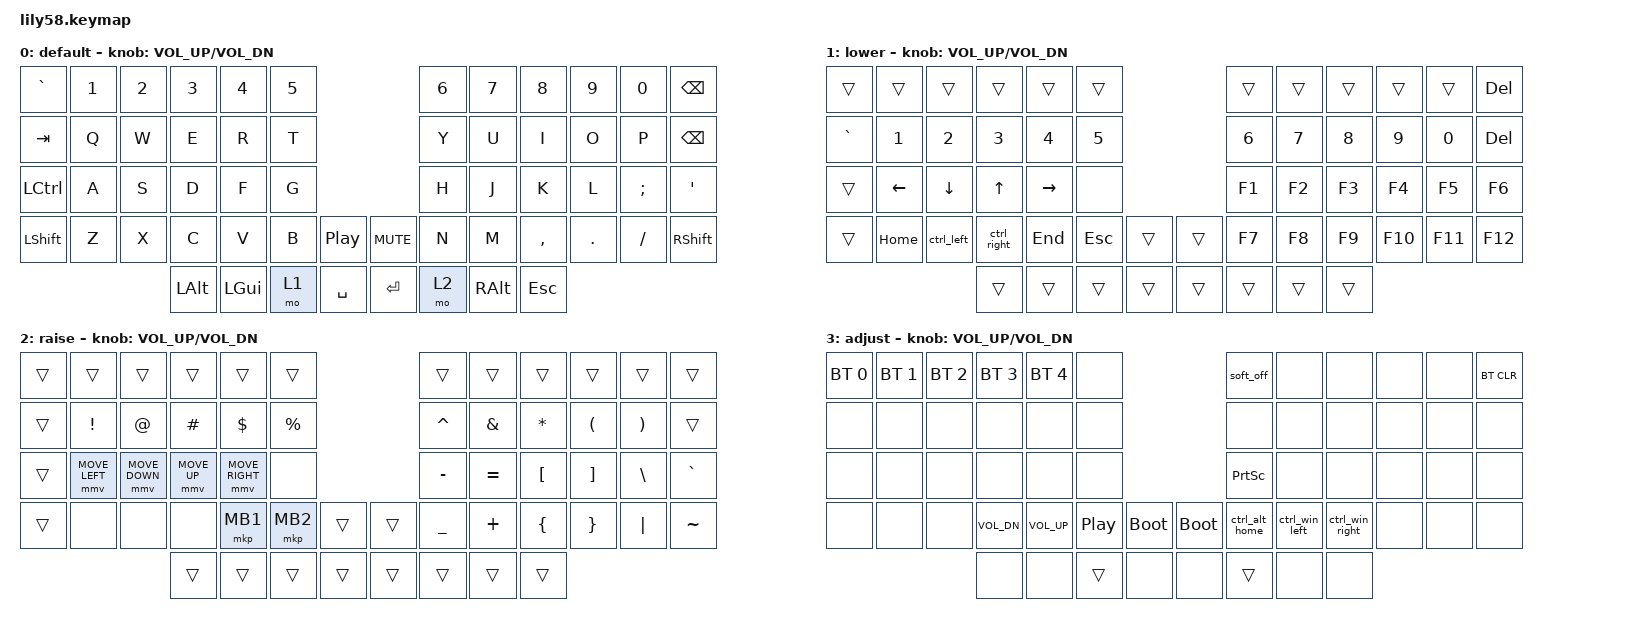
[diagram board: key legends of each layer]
/*
 * Copyright (c) 2020 The ZMK Contributors
 *
 * SPDX-License-Identifier: MIT
 */

#include <behaviors.dtsi>
#include <dt-bindings/zmk/keys.h>
#include <dt-bindings/zmk/bt.h>
#include <dt-bindings/zmk/ext_power.h>
#include <dt-bindings/zmk/pointing.h>

#define BASE 0
#define LOWER 1
#define RAISE 2
#define ADJUST 3

/ {
    macros {
      ctrl_alt_home: ctrl_alt_home {
        compatible = "zmk,behavior-macro";
        #binding-cells = <0>;
        bindings = <&macro_press &kp LCTRL &kp LALT>,
                   <&macro_tap &kp HOME>,
                   <&macro_release &kp LCTRL &kp LALT>;
      };
      ctrl_win_left: ctrl_win_left {
        compatible = "zmk,behavior-macro";
        #binding-cells = <0>;
        bindings = <&macro_press &kp LCTRL &kp LGUI>,
                   <&macro_tap &kp LEFT>,
                   <&macro_release &kp LCTRL &kp LGUI>;
      };
      ctrl_win_right: ctrl_win_right {
        compatible = "zmk,behavior-macro";
        #binding-cells = <0>;
        bindings = <&macro_press &kp LCTRL &kp LGUI>,
                   <&macro_tap &kp RIGHT>,
                   <&macro_release &kp LCTRL &kp LGUI>;
      };
      ctrl_shift_esc: ctrl_shift_esc {
        compatible = "zmk,behavior-macro";
        #binding-cells = <0>;
        bindings = <&macro_press &kp LCTRL &kp LSHIFT>,
                   <&macro_tap &kp ESC>,
                   <&macro_release &kp LCTRL &kp LSHIFT>;
      };
      alt_f4: alt_f4 {
        compatible = "zmk,behavior-macro";
        #binding-cells = <0>;
        bindings = <&macro_press &kp LALT>,
                   <&macro_tap &kp F4>,
                   <&macro_release &kp LALT>;
      };
      ctrl_shift_r: ctrl_shift_r {
        compatible = "zmk,behavior-macro";
        #binding-cells = <0>;
        bindings = <&macro_press &kp LCTRL &kp LSHIFT>,
                   <&macro_tap &kp R>,
                   <&macro_release &kp LCTRL &kp LSHIFT>;
      };
      win_l: win_l {
        compatible = "zmk,behavior-macro";
        #binding-cells = <0>;
        bindings = <&macro_press &kp LGUI>,
                   <&macro_tap &kp L>,
                   <&macro_release &kp LGUI>;
      };
      ctrl_left: ctrl_left {
        compatible = "zmk,behavior-macro";
        #binding-cells = <0>;
        bindings = <&macro_press &kp LCTRL>,
                   <&macro_tap &kp LEFT>,
                   <&macro_release &kp LCTRL>;
      };
      ctrl_right: ctrl_right {
        compatible = "zmk,behavior-macro";
        #binding-cells = <0>;
        bindings = <&macro_press &kp LCTRL>,
                   <&macro_tap &kp RIGHT>,
                   <&macro_release &kp LCTRL>;
      };
  };
};

/ {
  conditional_layers {
    compatible = "zmk,conditional-layers";
    tri_layer {
      if-layers = <LOWER RAISE>;
      then-layer = <ADJUST>;
    };
  };
};

/ {
    keymap {
        compatible = "zmk,keymap";
        default_layer {
            display-name = "default";
            bindings = <
&kp GRAVE       &kp N1          &kp N2          &kp N3          &kp N4          &kp N5                                          &kp N6          &kp N7          &kp N8          &kp N9          &kp N0          &kp BSPC
&kp TAB         &kp Q           &kp W           &kp E           &kp R           &kp T                                           &kp Y           &kp U           &kp I           &kp O           &kp P           &kp BSPC
&kp LCTRL       &kp A           &kp S           &kp D           &kp F           &kp G                                           &kp H           &kp J           &kp K           &kp L           &kp SEMI        &kp SQT
&kp LSHFT       &kp Z           &kp X           &kp C           &kp V           &kp B           &kp C_PP        &kp C_MUTE      &kp N           &kp M           &kp COMMA       &kp DOT         &kp FSLH        &kp RSHFT
                                                &kp LALT        &kp LGUI        &mo 1           &kp SPACE       &kp RET         &mo 2           &kp RALT        &kp ESC
            >;
            sensor-bindings = <&inc_dec_kp C_VOL_UP C_VOL_DN>;
        };
        lower_layer {
            display-name = "lower";
            bindings = <
&trans          &trans          &trans          &trans          &trans          &trans                                          &trans          &trans          &trans          &trans          &trans         &kp DEL
&kp GRAVE       &kp N1          &kp N2          &kp N3          &kp N4          &kp N5                                          &kp N6          &kp N7          &kp N8          &kp N9          &kp N0         &kp DEL
&trans          &kp LEFT        &kp DOWN        &kp UP          &kp RIGHT       &none                                           &kp F1          &kp F2          &kp F3          &kp F4          &kp F5         &kp F6
&trans          &kp HOME        &ctrl_left      &ctrl_right     &kp END         &kp ESC         &trans          &trans          &kp F7          &kp F8          &kp F9          &kp F10         &kp F11        &kp F12
                                                &trans          &trans          &trans          &trans          &trans          &trans          &trans          &trans
            >;
            sensor-bindings = <&inc_dec_kp C_VOL_UP C_VOL_DN>;
        };
        raise_layer {
            display-name = "raise";
            bindings = <
&trans          &trans          &trans          &trans          &trans          &trans                                          &trans          &trans          &trans          &trans          &trans          &trans
&trans          &kp EXCL        &kp AT          &kp HASH        &kp DLLR        &kp PRCNT                                       &kp CARET       &kp AMPS        &kp ASTRK       &kp LPAR        &kp RPAR        &trans
&trans          &mmv MOVE_LEFT  &mmv MOVE_DOWN  &mmv MOVE_UP    &mmv MOVE_RIGHT &none                                           &kp MINUS       &kp EQUAL       &kp LBKT        &kp RBKT        &kp BSLH        &kp GRAVE
&trans          &none           &none           &none           &mkp MB1        &mkp MB2        &trans          &trans          &kp UNDER       &kp PLUS        &kp LBRC        &kp RBRC        &kp PIPE        &kp TILDE
                                                &trans          &trans          &trans          &trans          &trans          &trans          &trans          &trans
            >;
            sensor-bindings = <&inc_dec_kp C_VOL_UP C_VOL_DN>;
        };
        adjust_layer {
            display-name = "adjust";
            bindings = <
&bt BT_SEL 0    &bt BT_SEL 1    &bt BT_SEL 2    &bt BT_SEL 3    &bt BT_SEL 4    &none                                           &soft_off       &none           &none           &none           &none           &bt BT_CLR
&none           &none           &none           &none           &none           &none                                           &none           &none           &none           &none           &none           &none
&none           &none           &none           &none           &none           &none                                           &kp PSCRN       &none           &none           &none           &none           &none
&none           &none           &none           &kp C_VOL_DN    &kp C_VOL_UP    &kp C_PP        &bootloader     &bootloader     &ctrl_alt_home  &ctrl_win_left  &ctrl_win_right &none           &none           &none
                                                &none           &none           &trans          &none           &none           &trans          &none           &none
            >;
            sensor-bindings = <&inc_dec_kp C_VOL_UP C_VOL_DN>;
        };
    };
};
